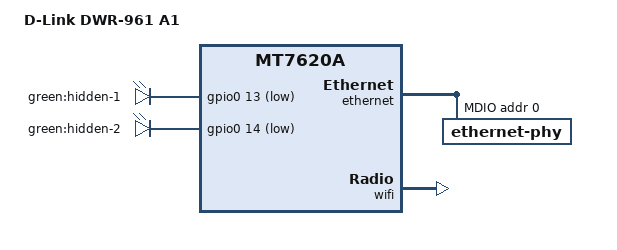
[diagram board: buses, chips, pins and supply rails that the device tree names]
// SPDX-License-Identifier: GPL-2.0-or-later
/*
 * D-Link DWR-961 A1 Board Description
 * Copyright 2022 Pawel Dembicki <paweldembicki@gmail.com>
 */
#include "mt7620a_dlink_dwr-96x.dtsi"

/ {
	compatible = "dlink,dwr-961-a1", "ralink,mt7620a-soc";
	model = "D-Link DWR-961 A1";

	leds {
		hidden-1 { /* hidden next to wlan5g led */
			label = "green:hidden-1";
			gpios = <&gpio0 13 GPIO_ACTIVE_LOW>;
		};

		hidden-2 { /* hidden next to sms led*/
			label = "green:hidden-2";
			gpios = <&gpio0 14 GPIO_ACTIVE_LOW>;
		};
	};
};

&ethernet {
	pinctrl-names = "default";
	pinctrl-0 = <&rgmii1_pins &mdio_pins>;

	port@5 {
		status = "okay";
		phy-mode = "rgmii";
		mediatek,fixed-link = <1000 1 1 1>;
	};

	mdio-bus {
		status = "okay";

		ethernet-phy@0 {
			reg = <0>;
			phy-mode = "rgmii";
			qca,ar8327-initvals = <
				0x04 0x87300000 /* PORT0 PAD MODE CTRL */
				0x0c 0x00000000 /* PORT6 PAD MODE CTRL */
				0x7c 0x0000007e /* PORT0_STATUS */
				0x80 0x00001200 /* PORT1_STATUS */
				0x84 0x00001200 /* PORT2_STATUS */
				0x88 0x00001200 /* PORT3_STATUS */
				0x8c 0x00001200 /* PORT4_STATUS */
				0x90 0x00001200 /* PORT5_STATUS */
				0x94 0x00000000 /* PORT6_STATUS */
			>;
		};
	};
};

&gsw {
	mediatek,ephy-base = /bits/ 8 <8>;
};

&wifi {
	mediatek,mtd-eeprom = <&config 0xe29e>;
};
